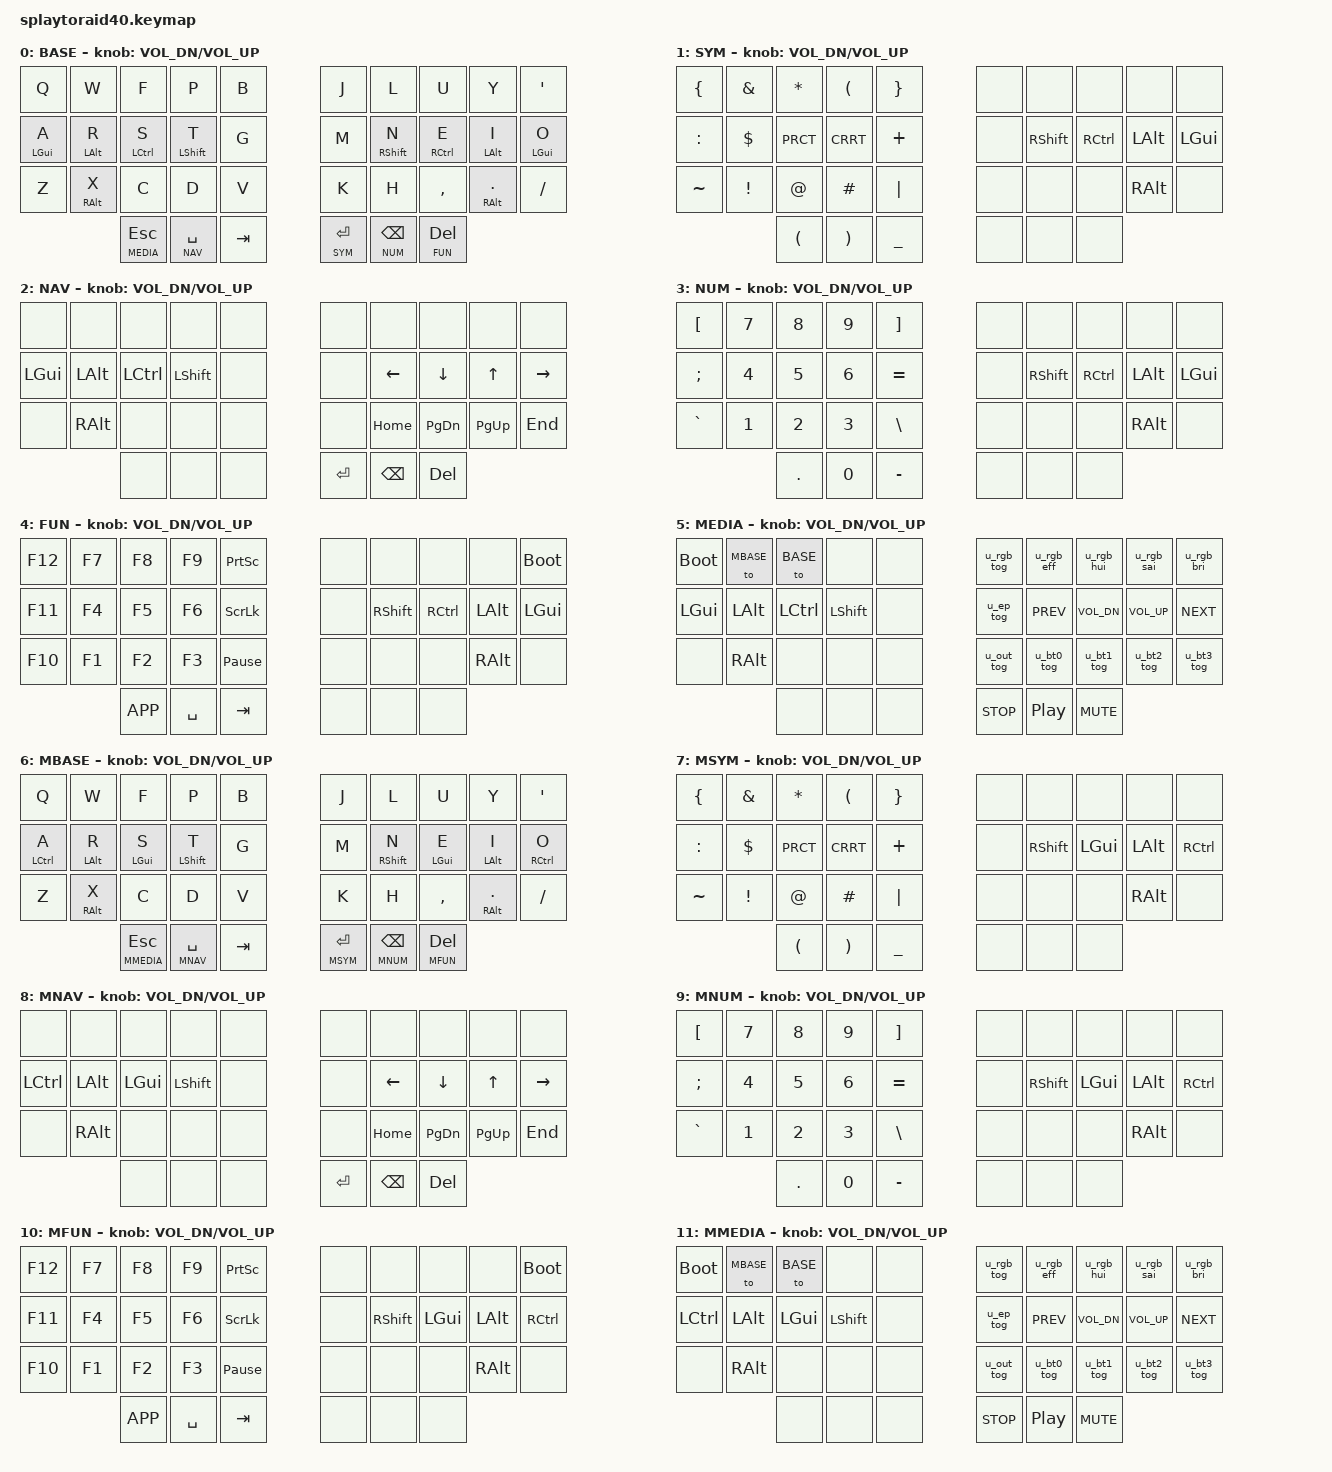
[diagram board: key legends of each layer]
/*
 * Copyright (c) 2021 The ZMK Contributors
 *
 * SPDX-License-Identifier: MIT
 */

#include <behaviors.dtsi>
#include <dt-bindings/zmk/bt.h>
#include <dt-bindings/zmk/ext_power.h>
#include <dt-bindings/zmk/keys.h>
#include <dt-bindings/zmk/outputs.h>
#include <dt-bindings/zmk/rgb.h>

#define BASE    0
#define SYM     1
#define NAV     2
#define NUM     3
#define FUN     4
#define MEDIA   5
#define MBASE   6
#define MSYM    7
#define MNAV    8
#define MNUM    9
#define MFUN   10
#define MMEDIA 11

&lt {
    quick_tap_ms = <200>;
};

&caps_word {
    continue-list = <UNDERSCORE MINUS>;
};

&sl {
    release-after-ms = <2000>;
};

/ {

    chosen {
        zmk,matrix_transform = &five_column_transform;
    };

    combos {
        compatible = "zmk,combos";
        
        // combos linux/windows
        combo_auml {
            timeout-ms = <50>;
            key-positions = <0 10>;
            bindings = <&kp RA(Q)>;
            layers = <BASE>;
        };
        combo_ouml {
            timeout-ms = <50>;
            key-positions = <9 19>;
            bindings = <&kp RA(P)>;
            layers = <BASE>;
        };
        combo_uuml {
            timeout-ms = <50>;
            key-positions = <7 17>;
            bindings = <&kp RA(Y)>;
            layers = <BASE>;
        };
        combo_szlig {
            timeout-ms = <50>;
            key-positions = <2 12>;
            bindings = <&kp RA(S)>;
            layers = <BASE>;
        };
        combo_euro {
            timeout-ms = <50>;
            key-positions = <17 27>;
            bindings = <&kp RA(N5)>;
            layers = <BASE>;
        };
        combo_esc {
            timeout-ms = <50>;
            key-positions = <0 1>;
            bindings = <&lt MEDIA ESC>;
            layers = <BASE>;
        };
        combo_space {
            timeout-ms = <50>;
            key-positions = <1 2>;
            bindings = <&lt NAV SPACE>;
            layers = <BASE>;
        };
        combo_return {
            timeout-ms = <50>;
            key-positions = <6 7>;
            bindings = <&lt SYM RET>;
            layers = <BASE>;
        };
        combo_backspace {
            timeout-ms = <50>;
            key-positions = <7 8>;
            bindings = <&lt NUM BSPC>;
            layers = <BASE>;
        };
        combo_delete {
            timeout-ms = <50>;
            key-positions = <8 9>;
            bindings = <&lt FUN DEL>;
            layers = <BASE>;
        };
        combo_sl_media {
            timeout-ms = <50>;
            key-positions = <28 29>;
            bindings = <&sl MEDIA>;
            layers = <BASE>;
        };
        combo_sl_nav {
            timeout-ms = <50>;
            key-positions = <27 28>;
            bindings = <&sl NAV>;
            layers = <BASE>;
        };
        combo_sl_sym {
            timeout-ms = <50>;
            key-positions = <22 23>;
            bindings = <&sl SYM>;
            layers = <BASE>;
        };
        combo_sl_num {
            timeout-ms = <50>;
            key-positions = <21 22>;
            bindings = <&sl NUM>;
            layers = <BASE>;
        };
        combo_sl_fun {
            timeout-ms = <50>;
            key-positions = <20 21>;
            bindings = <&sl FUN>;
            layers = <BASE>;
        };

        // combos mac
        combo_auml_mac {
            timeout-ms = <50>;
            key-positions = <0 10>;
            bindings = <&auml_mac>;
            layers = <MBASE>;
        };
        combo_ouml_mac {
            timeout-ms = <50>;
            key-positions = <9 19>;
            bindings = <&ouml_mac>;
            layers = <MBASE>;
        };
        combo_uuml_mac {
            timeout-ms = <50>;
            key-positions = <7 17>;
            bindings = <&uuml_mac>;
            layers = <MBASE>;
        };
        combo_szlig_mac {
            timeout-ms = <50>;
            key-positions = <2 12>;
            bindings = <&mac_szlig>;
            layers = <MBASE>;
        };
        combo_euro_mac {
            timeout-ms = <50>;
            key-positions = <17 27>;
            bindings = <&mac_euro>;
            layers = <MBASE>;
        };
        combo_esc_mac {
            timeout-ms = <50>;
            key-positions = <0 1>;
            bindings = <&lt MMEDIA ESC>;
            layers = <MBASE>;
        };
        combo_space_mac {
            timeout-ms = <50>;
            key-positions = <1 2>;
            bindings = <&lt MNAV SPACE>;
            layers = <MBASE>;
        };
        combo_return_mac {
            timeout-ms = <50>;
            key-positions = <6 7>;
            bindings = <&lt MSYM RET>;
            layers = <MBASE>;
        };
        combo_backspace_mac {
            timeout-ms = <50>;
            key-positions = <7 8>;
            bindings = <&lt MNUM BSPC>;
            layers = <MBASE>;
        };
        combo_delete_mac {
            timeout-ms = <50>;
            key-positions = <8 9>;
            bindings = <&lt MFUN DEL>;
            layers = <MBASE>;
        };
        combo_sl_media_mac {
            timeout-ms = <50>;
            key-positions = <28 29>;
            bindings = <&sl MMEDIA>;
            layers = <MBASE>;
        };
        combo_sl_nav_mac {
            timeout-ms = <50>;
            key-positions = <27 28>;
            bindings = <&sl MNAV>;
            layers = <MBASE>;
        };
        combo_sl_sym_mac {
            timeout-ms = <50>;
            key-positions = <22 23>;
            bindings = <&sl MSYM>;
            layers = <MBASE>;
        };
        combo_sl_num_mac {
            timeout-ms = <50>;
            key-positions = <21 22>;
            bindings = <&sl MNUM>;
            layers = <MBASE>;
        };
        combo_sl_fun_mac {
            timeout-ms = <50>;
            key-positions = <20 21>;
            bindings = <&sl MFUN>;
            layers = <MBASE>;
        };

        // combos universal
        combo_tab {
            timeout-ms = <50>;
            key-positions = <2 3>;
            bindings = <&kp TAB>;
        };
        combo_capsWord {
            timeout-ms = <50>;
            key-positions = <22 27>;
            bindings = <&caps_word>;
        };

    };

    macros {
        u_bt0_clr: u_bt0_clr {
            label = "U_BT0_CLR";
            compatible = "zmk,behavior-macro";
            #binding-cells = <0>;
            bindings = <&macro_tap &bt BT_SEL 0 &bt BT_CLR>;
        };

        u_bt1_clr: u_bt1_clr {
            label = "U_BT1_CLR";
            compatible = "zmk,behavior-macro";
            #binding-cells = <0>;
            bindings = <&macro_tap &bt BT_SEL 1 &bt BT_CLR>;
        };

        u_bt2_clr: u_bt2_clr {
            label = "U_BT2_CLR";
            compatible = "zmk,behavior-macro";
            #binding-cells = <0>;
            bindings = <&macro_tap &bt BT_SEL 2 &bt BT_CLR>;
        };

        u_bt3_clr: u_bt3_clr {
            label = "U_BT3_CLR";
            compatible = "zmk,behavior-macro";
            #binding-cells = <0>;
            bindings = <&macro_tap &bt BT_SEL 3 &bt BT_CLR>;
        };

        auml_mac_lwr: auml_mac_lwr {
            compatible = "zmk,behavior-macro";
            label = "AUML_MAC_LWR";
            #binding-cells = <0>;
            wait-ms = <40>;
            tap-ms = <40>;
            bindings
                = <&macro_press   &kp LALT>
                , <&macro_tap     &kp U>
                , <&macro_release &kp LALT>
                , <&macro_tap     &kp A>;
        };

        auml_mac_upr: auml_mac_upr {
            compatible = "zmk,behavior-macro";
            label = "AUML_MAC_UPR";
            #binding-cells = <0>;
            wait-ms = <40>;
            tap-ms = <40>;
            bindings
                = <&macro_press   &kp LALT>
                , <&macro_tap     &kp U>
                , <&macro_release &kp LALT>
                , <&macro_press   &kp LSHFT>
                , <&macro_tap     &kp A>
                , <&macro_release &kp LSHFT>;
        };

        ouml_mac_lwr: ouml_mac_lwr {
            compatible = "zmk,behavior-macro";
            label = "OUML_MAC_LWR";
            #binding-cells = <0>;
            wait-ms = <40>;
            tap-ms = <40>;
            bindings
                = <&macro_press   &kp LALT>
                , <&macro_tap     &kp U>
                , <&macro_release &kp LALT>
                , <&macro_tap     &kp O>;
        };

        ouml_mac_upr: ouml_mac_upr {
            compatible = "zmk,behavior-macro";
            label = "OUML_MAC_UPR";
            #binding-cells = <0>;
            wait-ms = <40>;
            tap-ms = <40>;
            bindings
                = <&macro_press   &kp LALT>
                , <&macro_tap     &kp U>
                , <&macro_release &kp LALT>
                , <&macro_press   &kp LSHFT>
                , <&macro_tap     &kp O>
                , <&macro_release &kp LSHFT>;
        };

        uuml_mac_lwr: uuml_mac_lwr {
            compatible = "zmk,behavior-macro";
            label = "UUML_MAC_LWR";
            #binding-cells = <0>;
            wait-ms = <40>;
            tap-ms = <40>;
            bindings
                = <&macro_press   &kp LALT>
                , <&macro_tap     &kp U>
                , <&macro_release &kp LALT>
                , <&macro_tap     &kp U>;
        };

        uuml_mac_upr: uuml_mac_upr {
            compatible = "zmk,behavior-macro";
            label = "UUML_MAC_UPR";
            #binding-cells = <0>;
            wait-ms = <40>;
            tap-ms = <40>;
            bindings
                = <&macro_press   &kp LALT>
                , <&macro_tap     &kp U>
                , <&macro_release &kp LALT>
                , <&macro_press   &kp LSHFT>
                , <&macro_tap     &kp U>
                , <&macro_release &kp LSHFT>;
        };

        mac_szlig: mac_szlig {
            compatible = "zmk,behavior-macro";
            label = "MAC_SZLIG";
            #binding-cells = <0>;
            wait-ms = <40>;
            tap-ms = <40>;
            bindings
                = <&macro_press   &kp LALT>
                , <&macro_tap     &kp S>
                , <&macro_release &kp LALT>;
        };

        mac_euro: mac_euro {
            compatible = "zmk,behavior-macro";
            label = "MAC_EURO";
            #binding-cells = <0>;
            wait-ms = <40>;
            tap-ms = <40>;
            bindings
                = <&macro_press   &kp LALT &kp LSHFT>
                , <&macro_tap     &kp N2>
                , <&macro_release &kp LALT &kp LSHFT>;
        };

    };

    behaviors {
        hm: home-row-mods {
            compatible = "zmk,behavior-hold-tap";
            label = "HOME_ROW_MODS";
            #binding-cells = <2>;
            flavor = "tap-preferred";
            tapping-term-ms = <175>;
            quick-tap-ms = <125>;
            global-quick-tap;
            bindings = <&kp>, <&kp>;
        };

        hs: home-row-shift {
            compatible = "zmk,behavior-hold-tap";
            label = "HOME_ROW_SHIFT";
            #binding-cells = <2>;
            flavor = "balanced";
            tapping-term-ms = <175>;
            // quick-tap-ms = <125>;
            // global-quick-tap;
            bindings = <&kp>, <&kp>;
        };

        u_rgb_eff: u_rgb_eff {
            compatible = "zmk,behavior-mod-morph";
            label = "U_RGB_EFF";
            #binding-cells = <0>;
            bindings = <&rgb_ug RGB_EFF>, <&rgb_ug RGB_EFR>;
            mods = <(MOD_LSFT|MOD_RSFT)>;
        };

        u_rgb_hui: u_rgb_hui {
            compatible = "zmk,behavior-mod-morph";
            label = "U_RGB_HUI";
            #binding-cells = <0>;
            bindings = <&rgb_ug RGB_HUI>, <&rgb_ug RGB_HUD>;
            mods = <(MOD_LSFT|MOD_RSFT)>;
        };

        u_rgb_sai: u_rgb_sai {
            compatible = "zmk,behavior-mod-morph";
            label = "U_RGB_SAI";
            #binding-cells = <0>;
            bindings = <&rgb_ug RGB_SAI>, <&rgb_ug RGB_SAD>;
            mods = <(MOD_LSFT|MOD_RSFT)>;
        };

        u_rgb_bri: u_rgb_bri {
            compatible = "zmk,behavior-mod-morph";
            label = "U_RGB_BRI";
            #binding-cells = <0>;
            bindings = <&rgb_ug RGB_BRI>, <&rgb_ug RGB_BRD>;
            mods = <(MOD_LSFT|MOD_RSFT)>;
        };

        u_ep_tog: u_ep_tog {
            compatible = "zmk,behavior-mod-morph";
            label = "U_EP_TOG";
            #binding-cells = <0>;
            bindings = <&ext_power EP_TOG>, <&ext_power EP_OFF>;
            mods = <(MOD_LSFT|MOD_RSFT)>;
        };

        u_rgb_tog: u_rgb_tog {
            compatible = "zmk,behavior-mod-morph";
            label = "U_RGB_TOG";
            #binding-cells = <0>;
            bindings = <&rgb_ug RGB_TOG>, <&rgb_ug RGB_OFF>;
            mods = <(MOD_LSFT|MOD_RSFT)>;
        };

        u_out_tog: u_out_tog {
            compatible = "zmk,behavior-mod-morph";
            label = "U_OUT_TOG";
            #binding-cells = <0>;
            bindings = <&out OUT_TOG>, <&out OUT_BLE>;
            mods = <(MOD_LSFT|MOD_RSFT)>;
        };

        u_bt0_tog: u_bt0_tog {
            compatible = "zmk,behavior-mod-morph";
            label = "U_BT0_TOG";
            #binding-cells = <0>;
            bindings = <&bt BT_SEL 0>, <&u_bt0_clr>;
            mods = <(MOD_LSFT|MOD_RSFT)>;
        };

        u_bt1_tog: u_bt1_tog {
            compatible = "zmk,behavior-mod-morph";
            label = "U_BT1_TOG";
            #binding-cells = <0>;
            bindings = <&bt BT_SEL 1>, <&u_bt1_clr>;
            mods = <(MOD_LSFT|MOD_RSFT)>;
        };

        u_bt2_tog: u_bt2_tog {
            compatible = "zmk,behavior-mod-morph";
            label = "U_BT2_TOG";
            #binding-cells = <0>;
            bindings = <&bt BT_SEL 2>, <&u_bt2_clr>;
            mods = <(MOD_LSFT|MOD_RSFT)>;
        };

        u_bt3_tog: u_bt3_tog {
            compatible = "zmk,behavior-mod-morph";
            label = "U_BT3_TOG";
            #binding-cells = <0>;
            bindings = <&bt BT_SEL 3>, <&u_bt3_clr>;
            mods = <(MOD_LSFT|MOD_RSFT)>;
        };
      
        auml_mac: auml_mac {
            compatible = "zmk,behavior-mod-morph";
            label = "AUML_MAC";
            #binding-cells = <0>;
            mods = <(MOD_LSFT|MOD_RSFT)>;
            bindings = <&auml_mac_lwr>, <&auml_mac_upr>;
        };
        
        ouml_mac: ouml_mac {
            compatible = "zmk,behavior-mod-morph";
            label = "OUML_MAC";
            #binding-cells = <0>;
            mods = <(MOD_LSFT|MOD_RSFT)>;
            bindings = <&ouml_mac_lwr>, <&ouml_mac_upr>;
        };
        
        uuml_mac: uuml_mac {
            compatible = "zmk,behavior-mod-morph";
            label = "UUML_MAC";
            #binding-cells = <0>;
            mods = <(MOD_LSFT|MOD_RSFT)>;
            bindings = <&uuml_mac_lwr>, <&uuml_mac_upr>;
        };

    };

    keymap {
        compatible = "zmk,keymap";
        
        base_layer {
            label= "BASE";
            bindings = <
                &kp Q         &kp W         &kp F         &kp P         &kp B         &kp J         &kp L         &kp U         &kp Y         &kp QUOT
                &hm LGUI A    &hm LALT R    &hm LCTRL S   &hs LSHFT T   &kp G         &kp M         &hs RSHFT N   &hm RCTRL E   &hm LALT I    &hm LGUI O
                &kp Z         &hm RALT X    &kp C         &kp D         &kp V         &kp K         &kp H         &kp COMMA     &hm RALT DOT  &kp SLASH
                                            &lt MEDIA ESC &lt NAV SPACE &kp TAB       &lt SYM RET   &lt NUM BSPC  &lt FUN DEL
            >;
            sensor-bindings = <&inc_dec_kp C_VOL_DN C_VOL_UP>;
        };

        sym_layer {
            label= "SYM";
            bindings = <
                &kp LBRC      &kp AMPS      &kp ASTRK     &kp LPAR      &kp RBRC      &none         &none         &none         &none         &none
                &kp COLON     &kp DLLR      &kp PRCT      &kp CRRT      &kp PLUS      &none         &kp RSHFT     &kp RCTRL     &kp LALT      &kp LGUI
                &kp TILDE     &kp EXCL      &kp AT        &kp HASH      &kp PIPE      &none         &none         &none         &kp RALT      &none
                                            &kp LPAR      &kp RPAR      &kp UNDER     &none         &none         &none
             >;
             sensor-bindings = <&inc_dec_kp C_VOL_DN C_VOL_UP>;
        };

        nav_layer {
            label= "NAV";
            bindings = <
                &none         &none         &none         &none         &none         &none         &none         &none         &none         &none
                &kp LGUI      &kp LALT      &kp LCTRL     &kp LSHFT     &none         &none         &kp LEFT      &kp DOWN      &kp UP        &kp RIGHT
                &none         &kp RALT      &none         &none         &none         &none         &kp HOME      &kp PG_DN     &kp PG_UP     &kp END
                                            &none         &none         &none         &kp RET       &kp BSPC      &kp DEL
            >;
            sensor-bindings = <&inc_dec_kp C_VOL_DN C_VOL_UP>;
        };

        num_layer {
            label= "NUM";
            bindings = <
                &kp LBKT      &kp N7        &kp N8        &kp N9        &kp RBKT      &none         &none         &none         &none         &none
                &kp SEMI      &kp N4        &kp N5        &kp N6        &kp EQUAL     &none         &kp RSHFT     &kp RCTRL     &kp LALT      &kp LGUI
                &kp GRAVE     &kp N1        &kp N2        &kp N3        &kp BSLH      &none         &none         &none         &kp RALT      &none
                                            &kp DOT       &kp N0        &kp MINUS     &none         &none         &none
            >;
            sensor-bindings = <&inc_dec_kp C_VOL_DN C_VOL_UP>;
        };

        fun_layer {
            label= "FUN";
            bindings = <
                &kp F12       &kp F7        &kp F8        &kp F9        &kp PSCRN     &none         &none         &none         &none         &bootloader
                &kp F11       &kp F4        &kp F5        &kp F6        &kp SLCK      &none         &kp RSHFT     &kp RCTRL     &kp LALT      &kp LGUI
                &kp F10       &kp F1        &kp F2        &kp F3        &kp PAUSE_BREAK &none       &none         &none         &kp RALT      &none
                                            &kp K_APP     &kp SPACE     &kp TAB       &none         &none         &none
            >;
            sensor-bindings = <&inc_dec_kp C_VOL_DN C_VOL_UP>;
        };

        media_layer {
            label= "MEDIA";
            bindings = <
                &bootloader    &to MBASE    &to BASE      &none         &none         &u_rgb_tog    &u_rgb_eff    &u_rgb_hui    &u_rgb_sai    &u_rgb_bri
                &kp LGUI       &kp LALT     &kp LCTRL     &kp LSHFT     &none         &u_ep_tog     &kp C_PREV    &kp C_VOL_DN  &kp C_VOL_UP  &kp C_NEXT
                &none          &kp RALT     &none         &none         &none         &u_out_tog    &u_bt0_tog    &u_bt1_tog    &u_bt2_tog    &u_bt3_tog
                                            &none         &none         &none         &kp C_STOP    &kp C_PP      &kp C_MUTE
            >;
            sensor-bindings = <&inc_dec_kp C_VOL_DN C_VOL_UP>;
        };

        mbase_layer {
            label= "MBASE";
            bindings = <
                &kp Q         &kp W         &kp F         &kp P         &kp B         &kp J         &kp L         &kp U         &kp Y         &kp QUOT
                &hm LCTRL A   &hm LALT R    &hm LGUI S    &hs LSHFT T   &kp G         &kp M         &hs RSHFT N   &hm LGUI E    &hm LALT I    &hm RCTRL O
                &kp Z         &hm RALT X    &kp C         &kp D         &kp V         &kp K         &kp H         &kp COMMA     &hm RALT DOT  &kp SLASH
                                            &lt MMEDIA ESC &lt MNAV SPACE &kp TAB     &lt MSYM RET  &lt MNUM BSPC &lt MFUN DEL
            >;
            sensor-bindings = <&inc_dec_kp C_VOL_DN C_VOL_UP>;
        };

        msym_layer {
            label= "MSYM";
            bindings = <
                &kp LBRC      &kp AMPS      &kp ASTRK     &kp LPAR      &kp RBRC      &none         &none         &none         &none         &none
                &kp COLON     &kp DLLR      &kp PRCT      &kp CRRT      &kp PLUS      &none         &kp RSHFT     &kp LGUI      &kp LALT      &kp RCTRL
                &kp TILDE     &kp EXCL      &kp AT        &kp HASH      &kp PIPE      &none         &none         &none         &kp RALT      &none
                                            &kp LPAR      &kp RPAR      &kp UNDER     &none         &none         &none
             >;
             sensor-bindings = <&inc_dec_kp C_VOL_DN C_VOL_UP>;
        };

        mnav_layer {
            label= "MNAV";
            bindings = <
                &none         &none         &none         &none         &none         &none         &none         &none         &none         &none
                &kp LCTRL     &kp LALT      &kp LGUI      &kp LSHFT     &none         &none         &kp LEFT      &kp DOWN      &kp UP        &kp RIGHT
                &none         &kp RALT      &none         &none         &none         &none         &kp HOME      &kp PG_DN     &kp PG_UP     &kp END
                                            &none         &none         &none         &kp RET       &kp BSPC      &kp DEL
            >;
            sensor-bindings = <&inc_dec_kp C_VOL_DN C_VOL_UP>;
        };

        mnum_layer {
            label= "MNUM";
            bindings = <
                &kp LBKT      &kp N7        &kp N8        &kp N9        &kp RBKT      &none         &none         &none         &none         &none
                &kp SEMI      &kp N4        &kp N5        &kp N6        &kp EQUAL     &none         &kp RSHFT     &kp LGUI      &kp LALT      &kp RCTRL
                &kp GRAVE     &kp N1        &kp N2        &kp N3        &kp BSLH      &none         &none         &none         &kp RALT      &none
                                            &kp DOT       &kp N0        &kp MINUS     &none         &none         &none
            >;
            sensor-bindings = <&inc_dec_kp C_VOL_DN C_VOL_UP>;
        };

        mfun_layer {
            label= "MFUN";
            bindings = <
                &kp F12       &kp F7        &kp F8        &kp F9        &kp PSCRN     &none         &none         &none         &none         &bootloader
                &kp F11       &kp F4        &kp F5        &kp F6        &kp SLCK      &none         &kp RSHFT     &kp LGUI      &kp LALT      &kp RCTRL
                &kp F10       &kp F1        &kp F2        &kp F3        &kp PAUSE_BREAK &none       &none         &none         &kp RALT      &none
                                            &kp K_APP     &kp SPACE     &kp TAB       &none         &none         &none
            >;
            sensor-bindings = <&inc_dec_kp C_VOL_DN C_VOL_UP>;
        };

        mmedia_layer {
            label= "MMEDIA";
            bindings = <
                &bootloader    &to MBASE    &to BASE      &none         &none         &u_rgb_tog    &u_rgb_eff    &u_rgb_hui    &u_rgb_sai    &u_rgb_bri
                &kp LCTRL      &kp LALT     &kp LGUI      &kp LSHFT     &none         &u_ep_tog     &kp C_PREV    &kp C_VOL_DN  &kp C_VOL_UP  &kp C_NEXT
                &none          &kp RALT     &none         &none         &none         &u_out_tog    &u_bt0_tog    &u_bt1_tog    &u_bt2_tog    &u_bt3_tog
                                            &none         &none         &none         &kp C_STOP    &kp C_PP      &kp C_MUTE
            >;
            sensor-bindings = <&inc_dec_kp C_VOL_DN C_VOL_UP>;
        };

    };

    center_encoder: encoder_center {
		resolution = <2>;
	};

};
